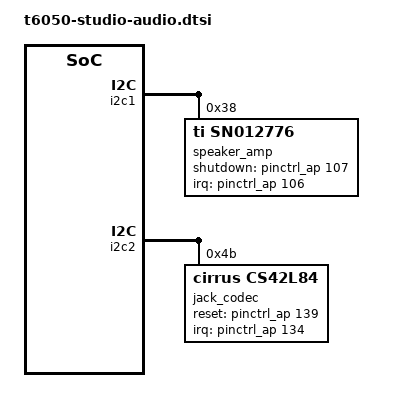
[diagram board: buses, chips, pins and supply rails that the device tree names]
// SPDX-License-Identifier: GPL-2.0+ OR MIT
/*
 * The audio of the M5 Mac Studio (J775c, J775d): the headphone jack (a
 * CS42L84) and the built-in speaker (one SN012776), both reached through the
 * AOP's audio services. The card waits for its CPU component, the AOP audio
 * node, which exists only after the boot loader's AOP handoff.
 *
 * The speaker is described but stays off: the ADT's audio-speaker stream has
 * no RX (sense) slot, and macaudio admits the speaker only once a protection
 * owner for a speaker without sense exists for these machines.
 *
 * The board sets the card's compatible and model.
 *
 * Copyright The Asahi Linux Contributors
 */

/ {
	sound: sound {
		#address-cells = <1>;
		#size-cells = <0>;

		dai-link@0 {
			reg = <0>;
			link-name = "Headphone Jack";

			cpu {
				sound-dai = <&aop_audio 0>;
			};

			codec {
				sound-dai = <&jack_codec>;
			};
		};

		dai-link@1 {
			reg = <1>;
			link-name = "Speaker";

			cpu {
				sound-dai = <&aop_audio 3>;
			};

			codec {
				sound-dai = <&speaker_amp>;
			};
		};
	};
};

/* Amp IRQ 106 and shutdown 107; jack IRQ 134 and codec reset 139 (pinctrl_ap) */
&i2c1 {
	/*
	 * The amp's V/I sense slots, as on the other SN012776 Macs; the AOP's
	 * speaker stream carries no sense back. The firmware's speaker frame
	 * is 250 BCLKs of 12 MHz (ADT iop-audio-controller/audio-speaker),
	 * which the amp's ratio detection rejects, so the amp is told the
	 * ratio.
	 */
	speaker_amp: codec@38 {
		compatible = "ti,sn012776", "ti,tas2764";
		reg = <0x38>;
		shutdown-gpios = <&pinctrl_ap 107 GPIO_ACTIVE_HIGH>;
		interrupts-extended = <&pinctrl_ap 106 IRQ_TYPE_LEVEL_LOW>;
		#sound-dai-cells = <0>;
		ti,imon-slot-no = <2>;
		ti,vmon-slot-no = <0>;
		ti,bclk-ratio = <250>;
	};
};

&i2c2 {
	jack_codec: codec@4b {
		compatible = "cirrus,cs42l84";
		reg = <0x4b>;
		reset-gpios = <&pinctrl_ap 139 GPIO_ACTIVE_HIGH>;
		interrupts-extended = <&pinctrl_ap 134 IRQ_TYPE_LEVEL_LOW>;
		#sound-dai-cells = <0>;
		sound-name-prefix = "Jack";
	};
};
